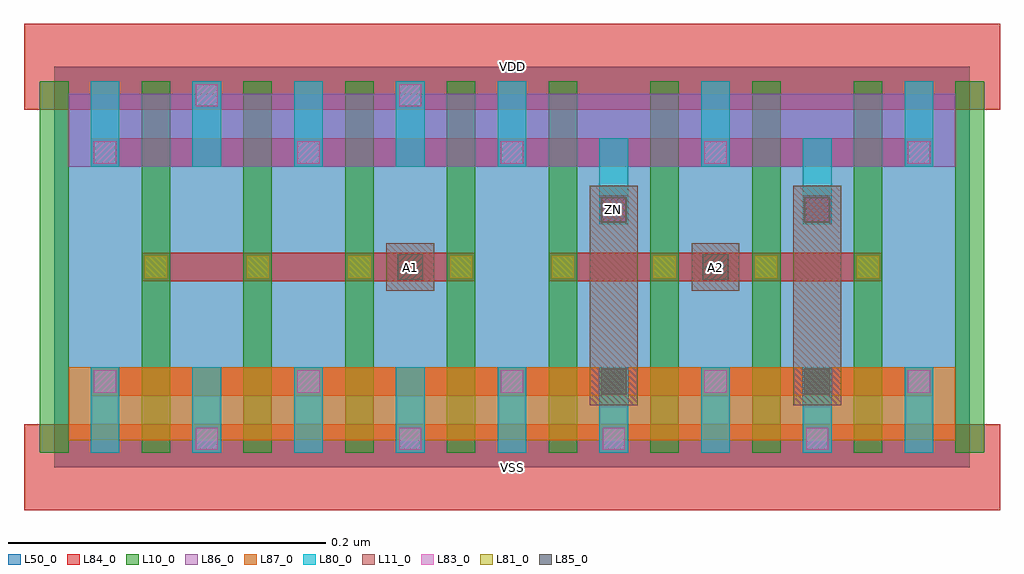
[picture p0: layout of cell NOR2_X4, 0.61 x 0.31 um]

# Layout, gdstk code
import gdstk
lib = gdstk.Library(unit=1e-6, precision=1e-09)
def R(c, l, rs):  # rectangles x0, y0, x1, y1
    for r in rs: c.add(gdstk.rectangle(r[:2], r[2:], *l))
def A(c, l, x, y, w, h, nx, ny, dx, dy):  # array of equal rectangles
    R(c, l, [(x+i*dx, y+j*dy, x+i*dx+w, y+j*dy+h) for i in range(nx) for j in range(ny)])
L10_0 = (10, 0)
L11_0 = (11, 0)
L50_0 = (50, 0)
L80_0 = (80, 0)
L81_0 = (81, 0)
L83_0 = (83, 0)
L84_0 = (84, 0)
L85_0 = (85, 0)
L86_0 = (86, 0)
L87_0 = (87, 0)

nor2_x4 = lib.new_cell('NOR2_X4')
A(nor2_x4, L10_0, -0.009, 0.009, 0.018, 0.234, 10, 1, 0.064, 0)
R(nor2_x4, L11_0, [(0.337,0.039,0.367,0.177), (0.465,0.039,0.495,0.177), (0.209,0.111,0.239,0.141), (0.401,0.111,0.431,0.141)])
R(nor2_x4, L50_0, [(0,0,0.576,0.252)])
A(nor2_x4, L80_0, 0.023, 0.009, 0.018, 0.054, 9, 1, 0.064, 0)
A(nor2_x4, L80_0, 0.023, 0.189, 0.018, 0.054, 5, 1, 0.064, 0)
R(nor2_x4, L80_0, [(0.343,0.153,0.361,0.207), (0.471,0.153,0.489,0.207), (0.407,0.189,0.425,0.243), (0.535,0.189,0.553,0.243)])
A(nor2_x4, L81_0, 0.057, 0.119, 0.014, 0.014, 8, 1, 0.064, 0)
A(nor2_x4, L83_0, 0.089, 0.011, 0.014, 0.014, 4, 1, 0.128, 0)
A(nor2_x4, L83_0, 0.025, 0.047, 0.014, 0.014, 5, 2, 0.128, 0.144)
R(nor2_x4, L83_0, [(0.345,0.155,0.359,0.169), (0.473,0.155,0.487,0.169), (0.089,0.227,0.103,0.241), (0.217,0.227,0.231,0.241)])
R(nor2_x4, L84_0, [(-0.019,-0.027,0.595,0.027), (0.023,0.045,0.553,0.063), (0.055,0.117,0.265,0.135), (0.311,0.117,0.521,0.135), (0.343,0.153,0.361,0.171), (0.471,0.153,0.489,0.171), (0.023,0.189,0.553,0.207), (-0.019,0.225,0.595,0.279)])
R(nor2_x4, L85_0, [(0.344,0.046,0.36,0.062), (0.472,0.046,0.488,0.062), (0.216,0.118,0.232,0.134), (0.408,0.118,0.424,0.134), (0.344,0.154,0.36,0.17), (0.472,0.154,0.488,0.17)])
R(nor2_x4, L86_0, [(0.009,0.189,0.567,0.235)])
R(nor2_x4, L87_0, [(0.009,0.017,0.567,0.063)])
nor2_x4.add(gdstk.Label('VDD', (0.288,0.252), layer=88, texttype=0))
nor2_x4.add(gdstk.Label('VSS', (0.288,0), layer=88, texttype=0))
nor2_x4.add(gdstk.Label('ZN', (0.352,0.162), layer=31, texttype=0))
nor2_x4.add(gdstk.Label('A1', (0.224,0.126), layer=31, texttype=0))
nor2_x4.add(gdstk.Label('A2', (0.416,0.126), layer=31, texttype=0))

lib.write_gds('NOR2_X4.gds')
